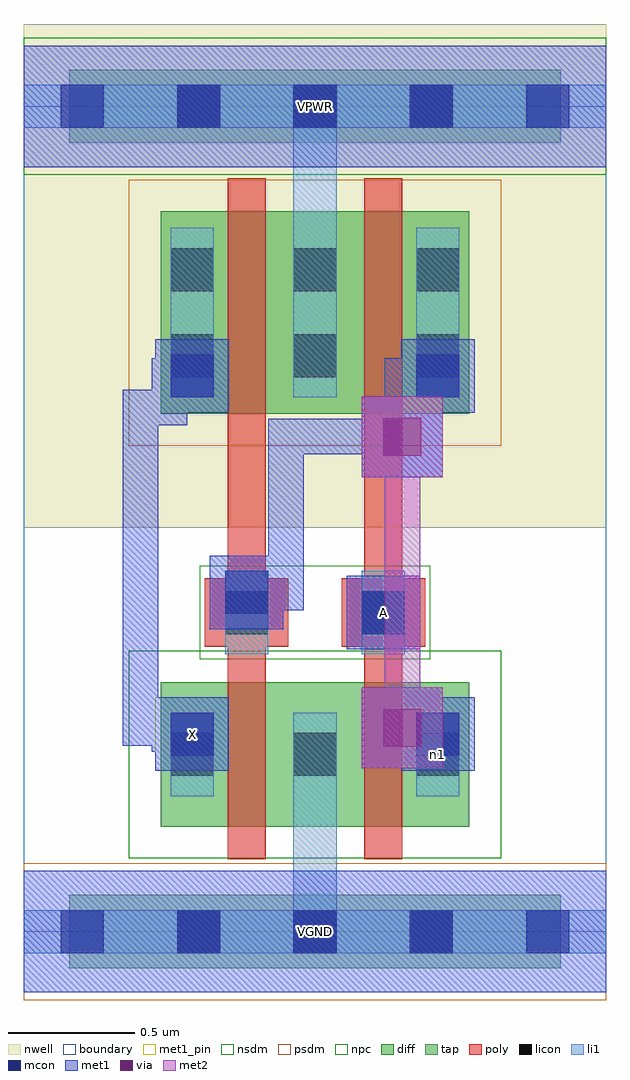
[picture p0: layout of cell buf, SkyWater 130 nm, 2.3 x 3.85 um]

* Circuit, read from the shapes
.subckt buf A VGND VPWR X n1
XM1 VGND n1 X VGND sky130_fd_pr__nfet_01v8 w=0.57 l=0.15
XM2 n1 A VGND VGND sky130_fd_pr__nfet_01v8 w=0.57 l=0.15
XM3 VPWR n1 X VPWR sky130_fd_pr__pfet_01v8 w=0.8 l=0.15
XM4 n1 A VPWR VPWR sky130_fd_pr__pfet_01v8 w=0.8 l=0.15
.ends

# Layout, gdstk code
import gdstk
lib = gdstk.Library(unit=1e-6, precision=1e-09)
def R(c, l, rs):  # rectangles x0, y0, x1, y1
    for r in rs: c.add(gdstk.rectangle(r[:2], r[2:], *l))
def A(c, l, x, y, w, h, nx, ny, dx, dy):  # array of equal rectangles
    R(c, l, [(x+i*dx, y+j*dy, x+i*dx+w, y+j*dy+h) for i in range(nx) for j in range(ny)])
nwell = (64, 20)
diff = (65, 20)
tap = (65, 44)
poly = (66, 20)
licon = (66, 44)
li1 = (67, 20)
mcon = (67, 44)
met1_pin = (68, 16)
met1 = (68, 20)
via = (68, 44)
met2 = (69, 20)
nsdm = (93, 44)
psdm = (94, 20)
npc = (95, 20)
boundary = (235, 4)

buf = lib.new_cell('buf')
R(buf, nwell, [(0,1.595,2.3,3.585)])
R(buf, diff, [(0.54,0.415,1.76,0.985), (0.54,2.045,1.76,2.845)])
R(buf, tap, [(0.18,-0.145,2.12,0.145), (0.18,3.115,2.12,3.405)])
R(buf, poly, [(0.805,0.285,0.955,2.975), (1.345,0.285,1.495,2.975), (0.715,1.125,1.045,1.395), (1.255,1.125,1.585,1.395)])
A(buf, licon, 0.605, -0.085, 0.17, 0.17, 3, 2, 0.46, 3.26)
A(buf, licon, 0.58, 0.615, 0.17, 0.17, 3, 2, 0.485, 1.575)
A(buf, licon, 0.58, 2.53, 0.17, 0.17, 3, 1, 0.485, 0)
R(buf, licon, [(0.795,1.175,0.965,1.345), (1.335,1.175,1.505,1.345)])
A(buf, li1, 0.58, 0.535, 0.17, 0.33, 3, 1, 0.485, 0)
A(buf, li1, 0.58, 2.11, 0.17, 0.67, 3, 1, 0.485, 0)
R(buf, li1, [(0,-0.085,2.3,0.085), (1.065,-0.085,1.235,0.865), (0.795,1.095,0.965,1.425), (1.335,1.095,1.505,1.425), (1.065,2.11,1.235,3.345), (0,3.175,2.3,3.345)])
A(buf, mcon, 0.145, -0.085, 0.17, 0.17, 5, 2, 0.46, 3.26)
R(buf, mcon, [(0.58,0.695,0.75,0.865), (1.55,0.695,1.72,0.865), (1.335,1.175,1.505,1.345), (0.795,1.255,0.965,1.425), (0.58,2.11,0.75,2.28), (1.55,2.11,1.72,2.28)])
R(buf, met1_pin, [(0,-0.24,2.3,0.24), (0.52,0.635,0.81,0.925), (1.275,1.115,1.565,1.405), (0,3.02,2.3,3.5)])
R(buf, met1, [(0,-0.24,2.3,0.24), (0.52,0.635,0.81,0.925), (1.49,0.635,1.78,0.925), (1.335,0.645,1.655,0.965), (0.505,0.71,0.735,0.85), (0.505,0.71,0.645,0.875), (1.425,0.71,1.565,0.875), (1.425,0.71,1.705,0.85), (0.39,0.735,0.645,0.875), (0.39,0.735,0.53,2.14), (1.275,1.115,1.565,1.405), (0.735,1.195,1.025,1.485), (0.81,1.27,1.105,1.41), (0.965,1.27,1.105,1.565), (0.965,1.425,1.105,2.025), (1.335,1.795,1.655,2.115), (0.965,1.885,1.565,2.025), (1.425,1.885,1.565,2.14), (0.39,2,0.645,2.14), (0.505,2,0.645,2.265), (1.425,2,1.565,2.265), (0.52,2.05,0.81,2.34), (1.49,2.05,1.78,2.34), (1.425,2.115,1.655,2.125), (0.505,2.125,0.735,2.265), (1.425,2.125,1.705,2.265), (0,3.02,2.3,3.5)])
R(buf, via, [(1.42,0.73,1.57,0.88), (1.42,1.88,1.57,2.03)])
R(buf, met2, [(1.335,0.645,1.655,0.965), (1.425,0.735,1.565,2.025), (1.335,1.795,1.655,2.115)])
R(buf, nsdm, [(0.415,0.29,1.885,1.11), (0,2.99,2.3,3.53)])
R(buf, psdm, [(0,-0.27,2.3,0.27), (0.415,1.92,1.885,2.97)])
R(buf, npc, [(0.695,1.075,1.605,1.445)])
R(buf, boundary, [(0,0,2.3,3.26)])
buf.add(gdstk.Label('n1', (1.635,0.7), layer=67, texttype=5))
buf.add(gdstk.Label('A', (1.42,1.26), layer=68, texttype=5))
buf.add(gdstk.Label('X', (0.665,0.78), layer=68, texttype=5))
buf.add(gdstk.Label('VPWR', (1.15,3.26), layer=68, texttype=5))
buf.add(gdstk.Label('VGND', (1.15,0), layer=68, texttype=5))
buf.add(gdstk.Label('A', (1.42,1.26), layer=68, texttype=16))
buf.add(gdstk.Label('X', (0.665,0.78), layer=68, texttype=16))
buf.add(gdstk.Label('VPWR', (1.15,3.26), layer=68, texttype=16))
buf.add(gdstk.Label('VGND', (1.15,0), layer=68, texttype=16))

lib.write_gds('buf.gds')
